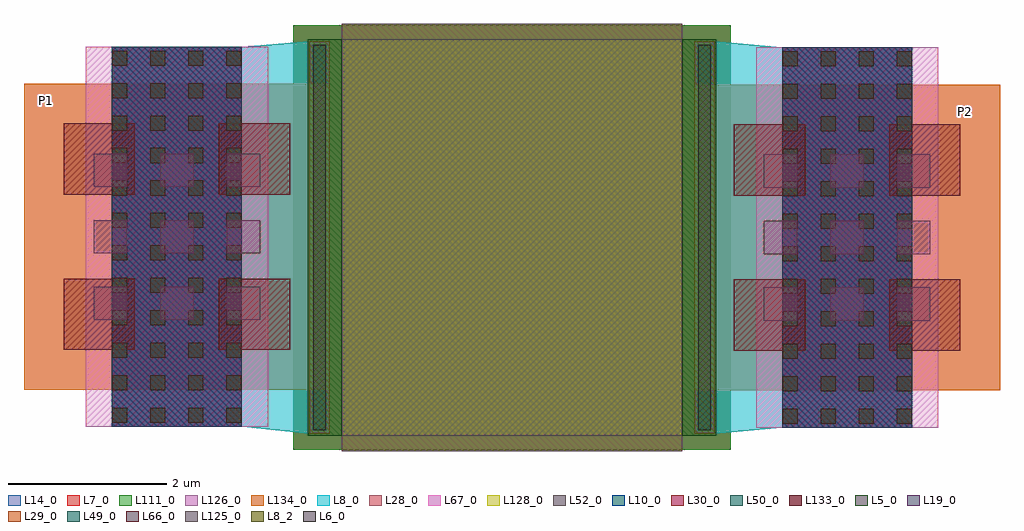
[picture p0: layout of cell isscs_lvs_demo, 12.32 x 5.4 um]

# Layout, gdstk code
from math import pi, radians
import gdstk
lib = gdstk.Library(unit=1e-6, precision=1e-09)
def R(c, l, rs):  # rectangles x0, y0, x1, y1
    for r in rs: c.add(gdstk.rectangle(r[:2], r[2:], *l))
def A(c, l, x, y, w, h, nx, ny, dx, dy):  # array of equal rectangles
    R(c, l, [(x+i*dx, y+j*dy, x+i*dx+w, y+j*dy+h) for i in range(nx) for j in range(ny)])
def P(c, l, *ps):  # polygons
    for p in ps: c.add(gdstk.Polygon(p, *l))
L5_0 = (5, 0)
L6_0 = (6, 0)
L7_0 = (7, 0)
L8_0 = (8, 0)
L8_2 = (8, 2)
L10_0 = (10, 0)
L14_0 = (14, 0)
L19_0 = (19, 0)
L28_0 = (28, 0)
L29_0 = (29, 0)
L30_0 = (30, 0)
L49_0 = (49, 0)
L50_0 = (50, 0)
L52_0 = (52, 0)
L66_0 = (66, 0)
L67_0 = (67, 0)
L111_0 = (111, 0)
L125_0 = (125, 0)
L126_0 = (126, 0)
L128_0 = (128, 0)
L133_0 = (133, 0)
L134_0 = (134, 0)

via1_4_single_1 = lib.new_cell('via1-4_single$1')

viatop1_single_1 = lib.new_cell('viaTop1_single$1')

viatop2_single_1 = lib.new_cell('viaTop2_single$1')

rhigh = lib.new_cell('rhigh')
R(rhigh, L5_0, [(0,-0.43,5,0), (0,4.3,5,4.73)])
R(rhigh, L6_0, [(0.07,-0.36,4.93,-0.2), (0.07,4.5,4.93,4.66)])
R(rhigh, L7_0, [(-0.18,-0.61,5.18,0.18), (-0.18,0,5.18,4.3), (-0.18,0,5.18,4.3), (-0.18,4.12,5.18,4.91)])
R(rhigh, L8_0, [(0.02,-0.41,4.98,-0.15), (0.02,4.45,4.98,4.71)])
R(rhigh, L8_2, [(0.02,-0.41,4.98,-0.15), (0.02,4.45,4.98,4.71)])
R(rhigh, L14_0, [(-0.18,-0.61,5.18,0.18), (-0.18,0,5.18,4.3), (-0.18,0,5.18,4.3), (-0.18,4.12,5.18,4.91)])
R(rhigh, L28_0, [(-0.2,0,5.2,4.3)])
R(rhigh, L52_0, [(0,0,5,4.3)])
R(rhigh, L111_0, [(-0.18,-0.61,5.18,0.18), (-0.2,0,5.2,4.3), (-0.18,4.12,5.18,4.91)])
R(rhigh, L128_0, [(0,0,5,4.3)])
rhigh.add(gdstk.Label('rhigh r=1211.032', (2.5,2.15), layer=63, texttype=0))
rhigh.add(gdstk.Label('rhigh', (2.5,2.15), layer=52, texttype=0))

via_stack = lib.new_cell('via_stack')
R(via_stack, L8_0, [(-0.825,-2.4,0.825,2.4)])
R(via_stack, L10_0, [(-0.82,-2.4,0.82,2.4)])
A(via_stack, L19_0, -0.815, -2.35, 0.19, 0.19, 4, 12, 0.48, 0.41)
A(via_stack, L29_0, -0.815, -2.35, 0.19, 0.19, 4, 12, 0.48, 0.41)
R(via_stack, L30_0, [(-0.82,-2.4,0.82,2.4)])
A(via_stack, L49_0, -0.815, -2.35, 0.19, 0.19, 4, 12, 0.48, 0.41)
R(via_stack, L50_0, [(-0.82,-2.4,0.82,2.4)])
A(via_stack, L66_0, -0.815, -2.35, 0.19, 0.19, 4, 12, 0.48, 0.41)
R(via_stack, L67_0, [(-1.15,-2.4,1.15,2.4)])
A(via_stack, L125_0, -1.05, -1.05, 0.42, 0.42, 3, 3, 0.84, 0.84)
R(via_stack, L126_0, [(-1.93,-1.93,1.93,1.93)])
R(via_stack, L133_0, [(-1.43,-1.43,-0.53,-0.53), (0.53,-1.43,1.43,-0.53), (-1.43,0.53,-0.53,1.43), (0.53,0.53,1.43,1.43)])
R(via_stack, L134_0, [(-1.93,-1.93,1.93,1.93)])

dc_pad = lib.new_cell('DC_pad')

isscs_lvs_demo = lib.new_cell('isscs_lvs_demo')
P(isscs_lvs_demo, L8_0, [(7.975,-8.3),(7.13,-8.21),(7.13,-3.41),(7.975,-3.34)],
  [(13.095,-8.3),(13.095,-3.34),(13.94,-3.42),(13.94,-8.22)])
r = gdstk.Reference(via1_4_single_1, (88.92,-0.89)); r.repetition = gdstk.Repetition(4, 38, v1=(0.41,0), v2=(0,0.48)); isscs_lvs_demo.add(r)
r = gdstk.Reference(viatop1_single_1, (89.11,-0.415)); r.repetition = gdstk.Repetition(2, 21, v1=(0.84,0), v2=(0,0.84)); isscs_lvs_demo.add(r)
r = gdstk.Reference(viatop2_single_1, (89.54,0.14)); r.repetition = gdstk.Repetition(1, 9, v1=(0,0), v2=(0,1.96)); isscs_lvs_demo.add(r)
r = gdstk.Reference(via1_4_single_1, (93.58,-0.95)); r.repetition = gdstk.Repetition(4, 38, v1=(0.41,0), v2=(0,0.48)); isscs_lvs_demo.add(r)
r = gdstk.Reference(viatop1_single_1, (93.775,-0.465)); r.repetition = gdstk.Repetition(2, 21, v1=(0.84,0), v2=(0,0.84)); isscs_lvs_demo.add(r)
r = gdstk.Reference(viatop2_single_1, (94.19,0.105)); r.repetition = gdstk.Repetition(1, 9, v1=(0,0), v2=(0,1.96)); isscs_lvs_demo.add(r)
isscs_lvs_demo.add(gdstk.Reference(rhigh, (8.385,-3.32), rotation=3*pi/2))
isscs_lvs_demo.add(gdstk.Reference(via_stack, (14.765,-5.82)))
isscs_lvs_demo.add(gdstk.Reference(via_stack, (6.305,-5.81)))
isscs_lvs_demo.add(gdstk.Reference(dc_pad, (-167.53,97.965)))
isscs_lvs_demo.add(gdstk.Label('P1', (4.66,-4.09), layer=134, texttype=25))
isscs_lvs_demo.add(gdstk.Label('P2', (16.265,-4.225), layer=134, texttype=25))

lib.write_gds('isscs_lvs_demo.gds')
